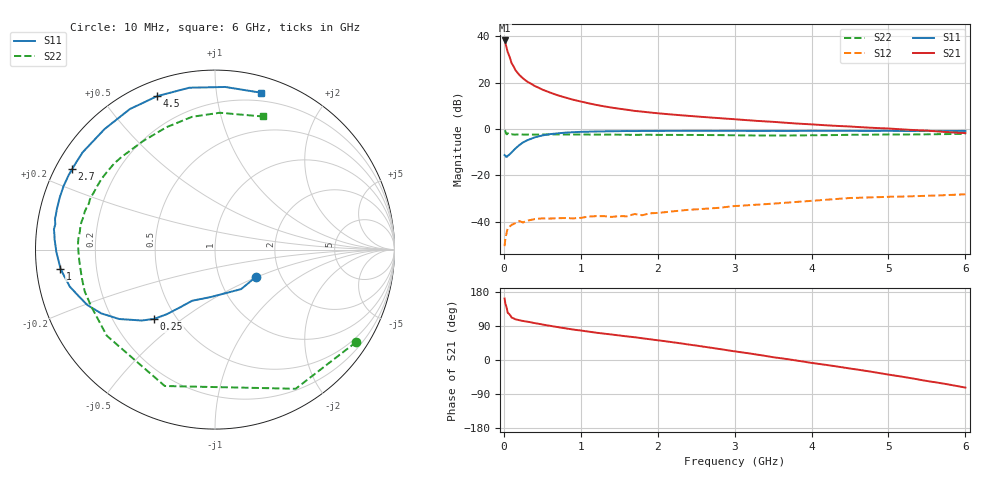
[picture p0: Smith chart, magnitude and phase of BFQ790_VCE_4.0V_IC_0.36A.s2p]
! (c) 2015  Infineon Technologies AG, Munich
! Infineon Technologies  Discrete & RF Semiconductors
! BFQ790
! VCE =  4.0 V,  IC = 0.36 A
! Common Emitter S-Parameters:  May 2015
# GHz  S  MA  R  50
!  f  S11  S21  S12  S22
! GHz  MAG  ANG  MAG  ANG  MAG  ANG  MAG  ANG
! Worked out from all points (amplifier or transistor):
!   77 points, 10 MHz to 6 GHz, reference 50 ohm
!   highest |S21| = 38.1 dB at 10 MHz (marker M1)
!   |S21| within 3 dB of that: start of sweep to 34.96 MHz
!   unconditionally stable (mu >= 1): 206.5 MHz to end of sweep
!   at 130 MHz: K = 0.84, MSG = 33.8 dB, |S12| = -40.8 dB
!   at 2.2 GHz: K = 1.34, MAG = 17.3 dB, |S12| = -35.4 dB
!   at 6 GHz: K = 1.09, MAG = 11.3 dB, |S12| = -28.1 dB
!   S11 on the Smith chart (normalised r, x): 10 MHz: 1.50, -0.49; 250 MHz: 0.38, -0.40; 1 GHz: 0.07, -0.06; 2.7 GHz: 0.05, +0.26; 4.5 GHz: 0.07, +0.69; 6 GHz: 0.13, +1.33
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0.01  0.2743 -33.6  80.57 162.3  0.003 73.6  0.9403 -33.2
0.02  0.2639 -56.6  71.07 148.3  0.0044 57.4  0.8962 -59.9
0.05  0.2653 -95.1  45.39 124.6  0.0072 34.7  0.8098 -110.2
0.1  0.3122 -114.1  26.29 112.0  0.0086 22.2  0.7705 -141.5
0.15  0.3795 -121.5  18.61 107.4  0.0094 22.6  0.7588 -155.1
0.2  0.4485 -126.7  14.67 105.0  0.0104 21.0  0.7624 -162.2
0.25  0.514 -131.3  12.24 103.0  0.0097 19.6  0.759 -166.8
0.3  0.5677 -135.9  10.56 101.3  0.0106 18.2  0.7575 -170.4
0.4  0.6595 -144.1  8.453 97.4  0.0115 15.8  0.7587 -175.4
0.5  0.7266 -150.7  7.066 93.7  0.0119 11.9  0.7607 -179.0
0.7  0.8048 -161.5  5.321 86.8  0.012 15.0  0.7637 175.5
0.9  0.8514 -169.7  4.27 80.4  0.0119 11.0  0.7598 171.8
1  0.8673 -173.0  3.906 77.8  0.0122 13.5  0.7617 170.0
1.1  0.8751 -176.3  3.579 74.9  0.013 14.7  0.7596 168.2
1.5  0.8987 174.6  2.729 64.8  0.0133 17.2  0.7538 162.5
2.1  0.9105 163.5  2.108 49.5  0.0162 17.9  0.746 153.7
2.7  0.9133 150.7  1.76 32.2  0.0196 13.8  0.7393 141.9
3.1  0.9116 141.5  1.576 20.0  0.0224 8.2  0.7291 132.9
4.1  0.9126 119.1  1.227 -10.4  0.0292 -6.2  0.7345 109.2
4.5  0.9137 110.6  1.132 -22.5  0.0327 -13.6  0.7508 99.8
5.1  0.9086 96.5  0.999 -41.6  0.0349 -26.4  0.762 85.9
6  0.9109 73.7  0.817 -72.8  0.0393 -47.6  0.788 70.3
